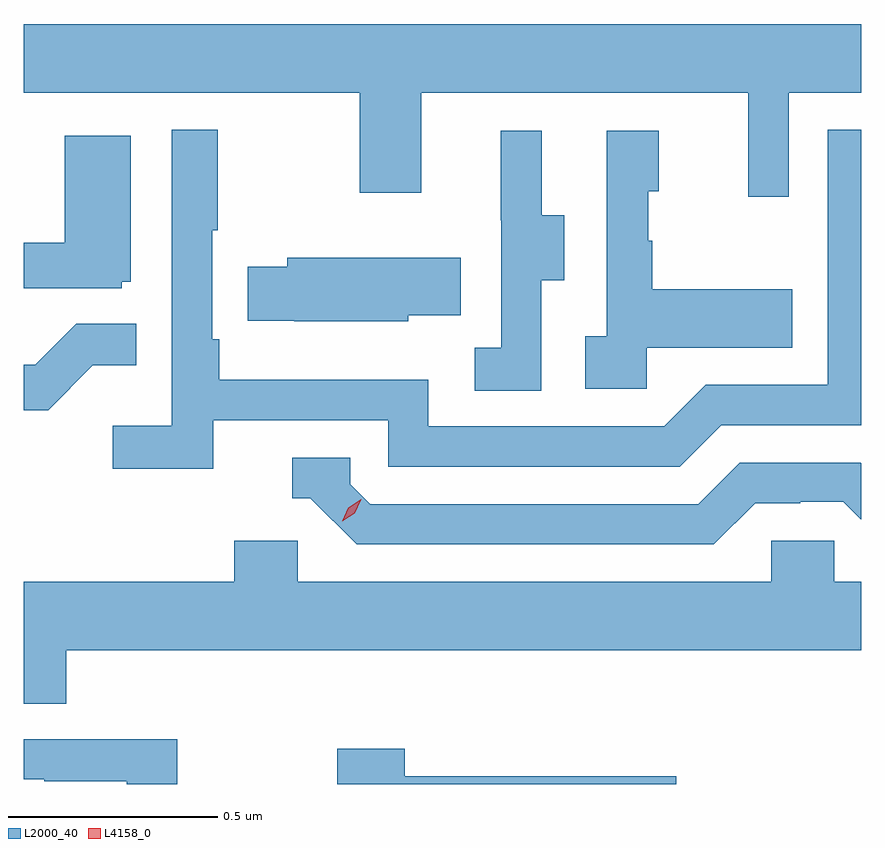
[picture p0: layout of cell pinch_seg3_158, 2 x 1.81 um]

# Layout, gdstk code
import gdstk
lib = gdstk.Library(unit=1e-6, precision=1e-09)
def P(c, l, *ps):  # polygons
    for p in ps: c.add(gdstk.Polygon(p, *l))
L2000_40 = (2000, 40)
L4158_0 = (4158, 0)

pinch_seg3_158 = lib.new_cell('pinch_seg3_158')
P(pinch_seg3_158, L2000_40, [(1132.107,728.888),(1132.28,728.888),(1132.28,729.052),(1130.28,729.052),(1130.28,728.888),(1131.082,728.888),(1131.082,728.649),(1131.229,728.649),(1131.229,728.888),(1132.01,728.888),(1132.01,728.64),(1132.107,728.64)],
  [(1130.732,728.106),(1131.15,728.106),(1131.15,727.995),(1131.847,727.995),(1131.946,728.094),(1132.28,728.094),(1132.28,728.799),(1132.2,728.799),(1132.2,728.19),(1131.909,728.19),(1131.81,728.091),(1131.246,728.091),(1131.246,728.203),(1130.747,728.203),(1130.747,728.299),(1130.73,728.299),(1130.73,728.56),(1130.743,728.56),(1130.743,728.8),(1130.634,728.8),(1130.634,728.092),(1130.493,728.092),(1130.493,727.99),(1130.732,727.99)],
  [(1131.516,728.44),(1131.571,728.44),(1131.571,728.595),(1131.517,728.595),(1131.517,728.797),(1131.419,728.797),(1131.419,728.583),(1131.42,728.583),(1131.42,728.279),(1131.357,728.279),(1131.357,728.176),(1131.516,728.176)],
  [(1131.768,728.279),(1132.115,728.279),(1132.115,728.419),(1131.781,728.419),(1131.781,728.534),(1131.771,728.534),(1131.771,728.652),(1131.796,728.652),(1131.796,728.797),(1131.672,728.797),(1131.672,728.306),(1131.621,728.306),(1131.621,728.181),(1131.768,728.181)],
  [(1130.514,728.436),(1130.536,728.436),(1130.536,728.785),(1130.378,728.785),(1130.378,728.53),(1130.28,728.53),(1130.28,728.421),(1130.514,728.421)],
  [(1131.198,728.357),(1131.323,728.357),(1131.323,728.494),(1130.909,728.494),(1130.909,728.472),(1130.815,728.472),(1130.815,728.343),(1130.926,728.343),(1130.926,728.342),(1131.198,728.342)],
  [(1130.445,728.237),(1130.549,728.237),(1130.549,728.336),(1130.405,728.336),(1130.307,728.238),(1130.28,728.238),(1130.28,728.13),(1130.338,728.13)],
  [(1132.027,727.908),(1132.134,727.908),(1132.134,727.911),(1132.237,727.911),(1132.279,727.869),(1132.28,727.869),(1132.28,728.003),(1132.279,728.004),(1131.99,728.004),(1131.891,727.905),(1131.108,727.905),(1131.06,727.953),(1131.06,728.016),(1130.921,728.016),(1130.921,727.92),(1130.964,727.92),(1131.075,727.809),(1131.928,727.809)],
  [(1130.381,727.556),(1132.28,727.556),(1132.28,727.72),(1132.215,727.72),(1132.215,727.818),(1132.065,727.818),(1132.065,727.72),(1130.934,727.72),(1130.934,727.818),(1130.783,727.818),(1130.783,727.72),(1130.28,727.72),(1130.28,727.429),(1130.381,727.429)],
  [(1130.647,727.344),(1130.28,727.344),(1130.28,727.248),(1130.329,727.248),(1130.329,727.243),(1130.526,727.243),(1130.526,727.237),(1130.647,727.237)],
  [(1131.838,727.255),(1131.19,727.255),(1131.19,727.321),(1131.029,727.321),(1131.029,727.237),(1131.838,727.237)])
P(pinch_seg3_158, L4158_0, [(1131.04,727.864),(1131.04,727.864),(1131.055,727.897),(1131.086,727.917),(1131.086,727.917),(1131.086,727.917),(1131.07,727.884),(1131.04,727.864)])

lib.write_gds('pinch_seg3_158.gds')
